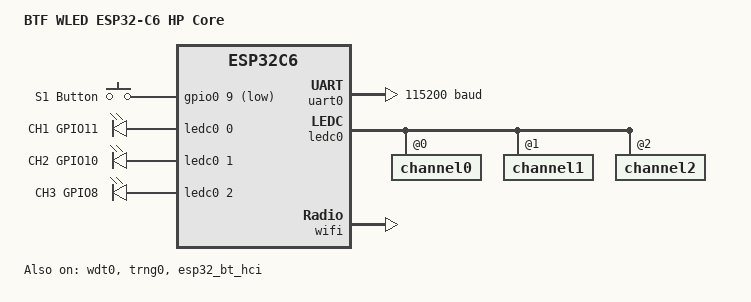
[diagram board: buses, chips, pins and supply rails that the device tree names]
/*
 * SPDX-License-Identifier: Apache-2.0
 *
 * BTF-Lighting "ESP32 WLED" controller reworked with an ESP32-C6-WROOM-1-N8
 * (8MB flash, no PSRAM) on the original WROOM-32E footprint. Three
 * MOSFET-buffered PWM channels (CH1/CH2/CH3 on the silk = GPIO11/10/8 on
 * the C6), one push button (S1, on GPIO9 = the C6 boot strap), USB-UART on
 * UART0 (GPIO16/17). See the pinctrl dtsi for the pad-mapping table and
 * the GPIO8 download-mode caveat.
 */
/dts-v1/;

#include <espressif/esp32c6/esp32c6_wroom_n8.dtsi>
#include "btf_wled_esp32c6-pinctrl.dtsi"
#include <zephyr/dt-bindings/input/input-event-codes.h>
#include <zephyr/dt-bindings/pwm/pwm.h>
#include <btf/partitions_btf_8M.dtsi>

/ {
	model = "BTF WLED ESP32-C6 HP Core";
	compatible = "espressif,esp32c6";

	aliases {
		uart-0 = &uart0;
		sw0 = &button0;
		watchdog0 = &wdt0;
		pwm-led0 = &pwm_led_ch1;
		pwm-led1 = &pwm_led_ch2;
		pwm-led2 = &pwm_led_ch3;
	};

	buttons {
		compatible = "gpio-keys";

		button0: button_0 {
			gpios = <&gpio0 9 (GPIO_PULL_UP | GPIO_ACTIVE_LOW)>;
			label = "S1 Button";
			zephyr,code = <INPUT_KEY_0>;
		};
	};

	pwm_leds {
		compatible = "pwm-leds";

		/* 51200ns = 19.531kHz = 80MHz LEDC clock / 2^12: inaudible,
		 * and the highest frequency that still yields 12-bit
		 * resolution (same math as the classic ESP32 board).
		 */
		pwm_led_ch1: pwm_led_1 {
			pwms = <&ledc0 0 51200 PWM_POLARITY_NORMAL>;
			label = "CH1 GPIO11";
		};

		pwm_led_ch2: pwm_led_2 {
			pwms = <&ledc0 1 51200 PWM_POLARITY_NORMAL>;
			label = "CH2 GPIO10";
		};

		pwm_led_ch3: pwm_led_3 {
			pwms = <&ledc0 2 51200 PWM_POLARITY_NORMAL>;
			label = "CH3 GPIO8";
		};
	};

	chosen {
		zephyr,sram = &sramhp;
		zephyr,console = &uart0;
		zephyr,shell-uart = &uart0;
		zephyr,flash = &flash0;
		zephyr,code-partition = &slot0_partition;
		zephyr,bt-hci = &esp32_bt_hci;
	};
};

&uart0 {
	status = "okay";
	current-speed = <115200>;
	pinctrl-0 = <&uart0_default>;
	pinctrl-names = "default";
};

&gpio0 {
	status = "okay";
};

&ledc0 {
	pinctrl-0 = <&ledc0_default>;
	pinctrl-names = "default";
	status = "okay";
	#address-cells = <1>;
	#size-cells = <0>;

	channel0@0 {
		reg = <0x0>;
		timer = <0>;
	};

	channel1@1 {
		reg = <0x1>;
		timer = <0>;
	};

	channel2@2 {
		reg = <0x2>;
		timer = <0>;
	};
};

&wdt0 {
	status = "okay";
};

&trng0 {
	status = "okay";
};

&esp32_bt_hci {
	status = "okay";
};

&wifi {
	status = "okay";
};
